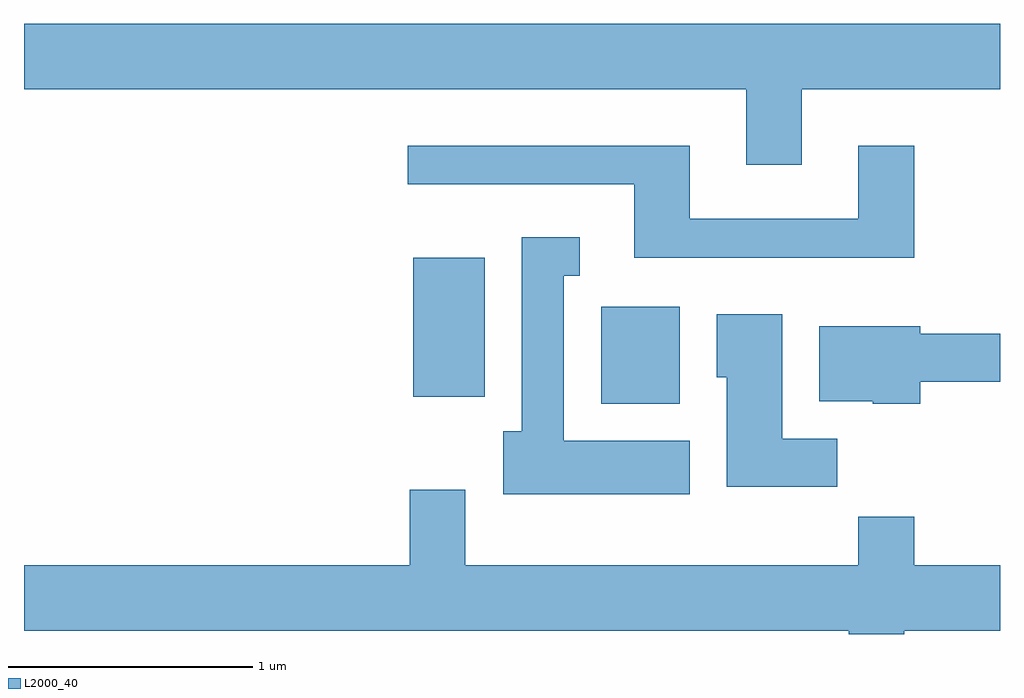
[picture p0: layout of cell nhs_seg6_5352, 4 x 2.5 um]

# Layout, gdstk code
import gdstk
lib = gdstk.Library(unit=1e-6, precision=1e-09)
def R(c, l, rs):  # rectangles x0, y0, x1, y1
    for r in rs: c.add(gdstk.rectangle(r[:2], r[2:], *l))
def P(c, l, *ps):  # polygons
    for p in ps: c.add(gdstk.Polygon(p, *l))
L2000_40 = (2000, 40)

nhs_seg6_5352 = lib.new_cell('nhs_seg6_5352')
R(nhs_seg6_5352, L2000_40, [(349.976,1633.106,350.299,1633.504), (349.206,1633.136,349.499,1633.704)])
P(nhs_seg6_5352, L2000_40, [(350.799,1634.396),(351.611,1634.396),(351.611,1634.664),(347.611,1634.664),(347.611,1634.396),(350.571,1634.396),(350.571,1634.086),(350.799,1634.086)],
  [(351.259,1634.164),(351.031,1634.164),(351.031,1633.864),(350.339,1633.864),(350.339,1634.164),(349.183,1634.164),(349.183,1634.006),(350.111,1634.006),(350.111,1633.706),(351.259,1633.706)],
  [(350.339,1632.954),(349.824,1632.954),(349.824,1633.631),(349.888,1633.631),(349.888,1633.789),(349.651,1633.789),(349.651,1632.994),(349.576,1632.994),(349.576,1632.736),(350.339,1632.736)],
  [(350.944,1632.964),(350.719,1632.964),(350.719,1633.474),(350.451,1633.474),(350.451,1633.216),(350.491,1633.216),(350.491,1632.766),(350.944,1632.766)],
  [(351.284,1633.196),(351.611,1633.196),(351.611,1633.394),(351.284,1633.394),(351.284,1633.424),(350.871,1633.424),(350.871,1633.116),(351.09,1633.116),(351.09,1633.106),(351.284,1633.106)],
  [(351.219,1632.176),(351.611,1632.176),(351.611,1632.444),(351.259,1632.444),(351.259,1632.644),(351.031,1632.644),(351.031,1632.444),(349.419,1632.444),(349.419,1632.754),(349.191,1632.754),(349.191,1632.444),(347.611,1632.444),(347.611,1632.176),(350.991,1632.176),(350.991,1632.162),(351.219,1632.162)])

lib.write_gds('nhs_seg6_5352.gds')
